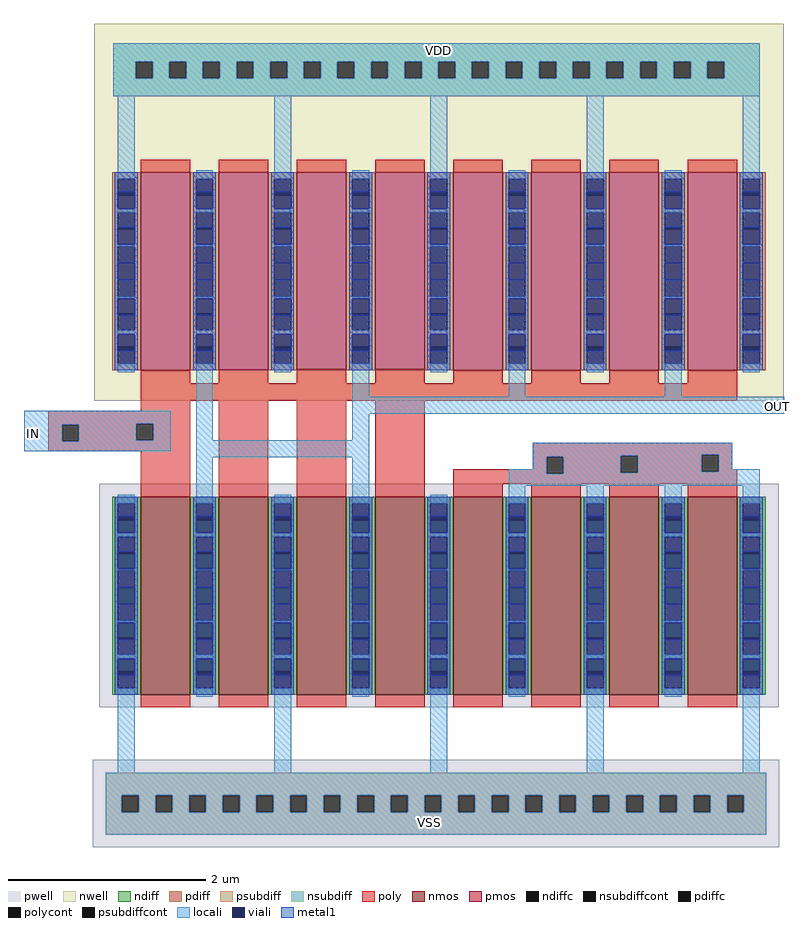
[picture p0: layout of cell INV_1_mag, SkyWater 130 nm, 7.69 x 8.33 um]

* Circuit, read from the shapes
.subckt INV_1_mag IN OUT VDD VSS
XM1 OUT IN VSS VSS sky130_fd_pr__nfet_01v8 w=2 l=0.5 m=4
XM2 VSS VSS VSS VSS sky130_fd_pr__nfet_01v8 w=2 l=0.5 m=4
XM3 OUT IN VDD VDD sky130_fd_pr__pfet_01v8 w=2 l=0.5 m=8
.ends

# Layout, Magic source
magic
tech sky130A
magscale 1 2
<< nwell >>
rect 0 521 1394 763
rect 364 466 398 521
rect 680 463 714 521
rect 996 464 1030 521
rect 1312 464 1346 521
rect 838 36 872 61
rect 1154 36 1188 62
rect 94 0 1300 36
<< pwell >>
rect -3 -903 1385 -726
<< psubdiff >>
rect 23 -798 1359 -752
rect 23 -832 56 -798
rect 90 -832 124 -798
rect 158 -832 192 -798
rect 226 -832 260 -798
rect 294 -832 328 -798
rect 362 -832 396 -798
rect 430 -832 464 -798
rect 498 -832 532 -798
rect 566 -832 600 -798
rect 634 -832 668 -798
rect 702 -832 736 -798
rect 770 -832 804 -798
rect 838 -832 872 -798
rect 906 -832 940 -798
rect 974 -832 1008 -798
rect 1042 -832 1076 -798
rect 1110 -832 1144 -798
rect 1178 -832 1212 -798
rect 1246 -832 1280 -798
rect 1314 -832 1359 -798
rect 23 -877 1359 -832
<< nsubdiff >>
rect 39 686 1346 723
rect 39 652 84 686
rect 118 652 152 686
rect 186 652 220 686
rect 254 652 288 686
rect 322 652 356 686
rect 390 652 424 686
rect 458 652 492 686
rect 526 652 560 686
rect 594 652 628 686
rect 662 652 696 686
rect 730 652 764 686
rect 798 652 832 686
rect 866 652 900 686
rect 934 652 968 686
rect 1002 652 1036 686
rect 1070 652 1104 686
rect 1138 652 1172 686
rect 1206 652 1240 686
rect 1274 652 1346 686
rect 39 616 1346 652
<< psubdiffcont >>
rect 56 -832 90 -798
rect 124 -832 158 -798
rect 192 -832 226 -798
rect 260 -832 294 -798
rect 328 -832 362 -798
rect 396 -832 430 -798
rect 464 -832 498 -798
rect 532 -832 566 -798
rect 600 -832 634 -798
rect 668 -832 702 -798
rect 736 -832 770 -798
rect 804 -832 838 -798
rect 872 -832 906 -798
rect 940 -832 974 -798
rect 1008 -832 1042 -798
rect 1076 -832 1110 -798
rect 1144 -832 1178 -798
rect 1212 -832 1246 -798
rect 1280 -832 1314 -798
<< nsubdiffcont >>
rect 84 652 118 686
rect 152 652 186 686
rect 220 652 254 686
rect 288 652 322 686
rect 356 652 390 686
rect 424 652 458 686
rect 492 652 526 686
rect 560 652 594 686
rect 628 652 662 686
rect 696 652 730 686
rect 764 652 798 686
rect 832 652 866 686
rect 900 652 934 686
rect 968 652 1002 686
rect 1036 652 1070 686
rect 1104 652 1138 686
rect 1172 652 1206 686
rect 1240 652 1274 686
<< poly >>
rect 94 61 120 62
rect 94 36 194 61
rect 252 36 352 64
rect 410 36 510 65
rect 568 36 668 65
rect 94 0 1300 36
rect 94 -20 194 0
rect -93 -46 194 -20
rect -93 -48 85 -46
rect -93 -82 -65 -48
rect -31 -80 85 -48
rect 119 -80 194 -46
rect -31 -82 194 -80
rect -93 -102 194 -82
rect 94 -173 194 -102
rect 252 -170 352 0
rect 410 -169 510 0
rect 568 -169 668 0
rect 887 -109 1290 -85
rect 887 -111 1229 -109
rect 887 -113 1065 -111
rect 887 -138 915 -113
rect 726 -147 915 -138
rect 949 -145 1065 -113
rect 1099 -143 1229 -111
rect 1263 -138 1290 -109
rect 1263 -143 1300 -138
rect 1099 -145 1300 -143
rect 949 -147 1300 -145
rect 726 -168 1300 -147
rect 94 -183 120 -173
<< polycont >>
rect -65 -82 -31 -48
rect 85 -80 119 -46
rect 915 -147 949 -113
rect 1065 -145 1099 -111
rect 1229 -143 1263 -109
<< locali >>
rect 39 686 1346 723
rect 39 652 84 686
rect 118 652 152 686
rect 186 652 220 686
rect 254 652 288 686
rect 322 652 356 686
rect 390 652 424 686
rect 458 652 492 686
rect 526 652 560 686
rect 594 652 628 686
rect 662 652 696 686
rect 730 652 764 686
rect 798 652 832 686
rect 866 652 900 686
rect 934 652 968 686
rect 1002 652 1036 686
rect 1070 652 1104 686
rect 1138 652 1172 686
rect 1206 652 1240 686
rect 1274 652 1346 686
rect 39 616 1346 652
rect 48 465 82 616
rect 364 466 398 616
rect 680 463 714 616
rect 996 464 1030 616
rect 1312 464 1346 616
rect -142 -46 155 -20
rect -142 -48 85 -46
rect -142 -82 -65 -48
rect -31 -80 85 -48
rect 119 -80 155 -46
rect -31 -82 155 -80
rect -142 -102 155 -82
rect 206 -80 240 71
rect 522 8 556 64
rect 838 8 872 61
rect 1154 8 1188 62
rect 522 -26 1395 8
rect 522 -80 556 -26
rect 206 -114 556 -80
rect 206 -202 240 -114
rect 522 -198 556 -114
rect 887 -109 1290 -85
rect 887 -111 1229 -109
rect 887 -113 1065 -111
rect 887 -138 915 -113
rect 838 -147 915 -138
rect 949 -145 1065 -113
rect 1099 -143 1229 -111
rect 1263 -138 1290 -109
rect 1263 -143 1346 -138
rect 1099 -145 1346 -143
rect 949 -147 1346 -145
rect 838 -172 1346 -147
rect 838 -200 872 -172
rect 996 -191 1030 -172
rect 1154 -206 1188 -172
rect 1312 -208 1346 -172
rect 48 -752 82 -597
rect 364 -752 398 -597
rect 680 -752 714 -597
rect 996 -752 1030 -597
rect 1312 -752 1346 -597
rect 23 -798 1359 -752
rect 23 -832 56 -798
rect 90 -832 124 -798
rect 158 -832 192 -798
rect 226 -832 260 -798
rect 294 -832 328 -798
rect 362 -832 396 -798
rect 430 -832 464 -798
rect 498 -832 532 -798
rect 566 -832 600 -798
rect 634 -832 668 -798
rect 702 -832 736 -798
rect 770 -832 804 -798
rect 838 -832 872 -798
rect 906 -832 940 -798
rect 974 -832 1008 -798
rect 1042 -832 1076 -798
rect 1110 -832 1144 -798
rect 1178 -832 1212 -798
rect 1246 -832 1280 -798
rect 1314 -832 1359 -798
rect 23 -877 1359 -832
use sky130_fd_pr__nfet_01v8_TMD3M2  sky130_fd_pr__nfet_01v8_TMD3M2_0
transform -1 0 1013 0 1 -394
box -371 -226 371 226
use sky130_fd_pr__nfet_01v8_TMD3M2  sky130_fd_pr__nfet_01v8_TMD3M2_1
transform 1 0 381 0 1 -394
box -371 -226 371 226
use sky130_fd_pr__pfet_01v8_2P97UG  sky130_fd_pr__pfet_01v8_2P97UG_0
transform -1 0 697 0 1 262
box -697 -262 697 262
<< labels >>
flabel locali s -123 -66 -123 -66 0 FreeSans 1250 0 0 0 IN
flabel locali s 1381 -11 1381 -11 0 FreeSans 1250 0 0 0 OUT
flabel locali s 696 708 696 708 0 FreeSans 1250 0 0 0 VDD
flabel locali s 679 -853 679 -853 0 FreeSans 1250 0 0 0 VSS
<< properties >>
string GDS_END 88274
string GDS_FILE /home/shahid/Sky130Projects/top_layout/VCO.gds
string GDS_START 81158
<< end >>

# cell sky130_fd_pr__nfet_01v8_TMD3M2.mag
magic
tech sky130A
magscale 1 2
<< pwell >>
rect -371 -226 371 226
<< nmos >>
rect -287 -200 -187 200
rect -129 -200 -29 200
rect 29 -200 129 200
rect 187 -200 287 200
<< ndiff >>
rect -345 187 -287 200
rect -345 153 -333 187
rect -299 153 -287 187
rect -345 119 -287 153
rect -345 85 -333 119
rect -299 85 -287 119
rect -345 51 -287 85
rect -345 17 -333 51
rect -299 17 -287 51
rect -345 -17 -287 17
rect -345 -51 -333 -17
rect -299 -51 -287 -17
rect -345 -85 -287 -51
rect -345 -119 -333 -85
rect -299 -119 -287 -85
rect -345 -153 -287 -119
rect -345 -187 -333 -153
rect -299 -187 -287 -153
rect -345 -200 -287 -187
rect -187 187 -129 200
rect -187 153 -175 187
rect -141 153 -129 187
rect -187 119 -129 153
rect -187 85 -175 119
rect -141 85 -129 119
rect -187 51 -129 85
rect -187 17 -175 51
rect -141 17 -129 51
rect -187 -17 -129 17
rect -187 -51 -175 -17
rect -141 -51 -129 -17
rect -187 -85 -129 -51
rect -187 -119 -175 -85
rect -141 -119 -129 -85
rect -187 -153 -129 -119
rect -187 -187 -175 -153
rect -141 -187 -129 -153
rect -187 -200 -129 -187
rect -29 187 29 200
rect -29 153 -17 187
rect 17 153 29 187
rect -29 119 29 153
rect -29 85 -17 119
rect 17 85 29 119
rect -29 51 29 85
rect -29 17 -17 51
rect 17 17 29 51
rect -29 -17 29 17
rect -29 -51 -17 -17
rect 17 -51 29 -17
rect -29 -85 29 -51
rect -29 -119 -17 -85
rect 17 -119 29 -85
rect -29 -153 29 -119
rect -29 -187 -17 -153
rect 17 -187 29 -153
rect -29 -200 29 -187
rect 129 187 187 200
rect 129 153 141 187
rect 175 153 187 187
rect 129 119 187 153
rect 129 85 141 119
rect 175 85 187 119
rect 129 51 187 85
rect 129 17 141 51
rect 175 17 187 51
rect 129 -17 187 17
rect 129 -51 141 -17
rect 175 -51 187 -17
rect 129 -85 187 -51
rect 129 -119 141 -85
rect 175 -119 187 -85
rect 129 -153 187 -119
rect 129 -187 141 -153
rect 175 -187 187 -153
rect 129 -200 187 -187
rect 287 187 345 200
rect 287 153 299 187
rect 333 153 345 187
rect 287 119 345 153
rect 287 85 299 119
rect 333 85 345 119
rect 287 51 345 85
rect 287 17 299 51
rect 333 17 345 51
rect 287 -17 345 17
rect 287 -51 299 -17
rect 333 -51 345 -17
rect 287 -85 345 -51
rect 287 -119 299 -85
rect 333 -119 345 -85
rect 287 -153 345 -119
rect 287 -187 299 -153
rect 333 -187 345 -153
rect 287 -200 345 -187
<< ndiffc >>
rect -333 153 -299 187
rect -333 85 -299 119
rect -333 17 -299 51
rect -333 -51 -299 -17
rect -333 -119 -299 -85
rect -333 -187 -299 -153
rect -175 153 -141 187
rect -175 85 -141 119
rect -175 17 -141 51
rect -175 -51 -141 -17
rect -175 -119 -141 -85
rect -175 -187 -141 -153
rect -17 153 17 187
rect -17 85 17 119
rect -17 17 17 51
rect -17 -51 17 -17
rect -17 -119 17 -85
rect -17 -187 17 -153
rect 141 153 175 187
rect 141 85 175 119
rect 141 17 175 51
rect 141 -51 175 -17
rect 141 -119 175 -85
rect 141 -187 175 -153
rect 299 153 333 187
rect 299 85 333 119
rect 299 17 333 51
rect 299 -51 333 -17
rect 299 -119 333 -85
rect 299 -187 333 -153
<< poly >>
rect -287 200 -187 226
rect -129 200 -29 226
rect 29 200 129 226
rect 187 200 287 226
rect -287 -226 -187 -200
rect -129 -226 -29 -200
rect 29 -226 129 -200
rect 187 -226 287 -200
<< locali >>
rect -333 187 -299 204
rect -333 119 -299 127
rect -333 51 -299 55
rect -333 -55 -299 -51
rect -333 -127 -299 -119
rect -333 -204 -299 -187
rect -175 187 -141 204
rect -175 119 -141 127
rect -175 51 -141 55
rect -175 -55 -141 -51
rect -175 -127 -141 -119
rect -175 -204 -141 -187
rect -17 187 17 204
rect -17 119 17 127
rect -17 51 17 55
rect -17 -55 17 -51
rect -17 -127 17 -119
rect -17 -204 17 -187
rect 141 187 175 204
rect 141 119 175 127
rect 141 51 175 55
rect 141 -55 175 -51
rect 141 -127 175 -119
rect 141 -204 175 -187
rect 299 187 333 204
rect 299 119 333 127
rect 299 51 333 55
rect 299 -55 333 -51
rect 299 -127 333 -119
rect 299 -204 333 -187
<< viali >>
rect -333 153 -299 161
rect -333 127 -299 153
rect -333 85 -299 89
rect -333 55 -299 85
rect -333 -17 -299 17
rect -333 -85 -299 -55
rect -333 -89 -299 -85
rect -333 -153 -299 -127
rect -333 -161 -299 -153
rect -175 153 -141 161
rect -175 127 -141 153
rect -175 85 -141 89
rect -175 55 -141 85
rect -175 -17 -141 17
rect -175 -85 -141 -55
rect -175 -89 -141 -85
rect -175 -153 -141 -127
rect -175 -161 -141 -153
rect -17 153 17 161
rect -17 127 17 153
rect -17 85 17 89
rect -17 55 17 85
rect -17 -17 17 17
rect -17 -85 17 -55
rect -17 -89 17 -85
rect -17 -153 17 -127
rect -17 -161 17 -153
rect 141 153 175 161
rect 141 127 175 153
rect 141 85 175 89
rect 141 55 175 85
rect 141 -17 175 17
rect 141 -85 175 -55
rect 141 -89 175 -85
rect 141 -153 175 -127
rect 141 -161 175 -153
rect 299 153 333 161
rect 299 127 333 153
rect 299 85 333 89
rect 299 55 333 85
rect 299 -17 333 17
rect 299 -85 333 -55
rect 299 -89 333 -85
rect 299 -153 333 -127
rect 299 -161 333 -153
<< metal1 >>
rect -339 161 -293 200
rect -339 127 -333 161
rect -299 127 -293 161
rect -339 89 -293 127
rect -339 55 -333 89
rect -299 55 -293 89
rect -339 17 -293 55
rect -339 -17 -333 17
rect -299 -17 -293 17
rect -339 -55 -293 -17
rect -339 -89 -333 -55
rect -299 -89 -293 -55
rect -339 -127 -293 -89
rect -339 -161 -333 -127
rect -299 -161 -293 -127
rect -339 -200 -293 -161
rect -181 161 -135 200
rect -181 127 -175 161
rect -141 127 -135 161
rect -181 89 -135 127
rect -181 55 -175 89
rect -141 55 -135 89
rect -181 17 -135 55
rect -181 -17 -175 17
rect -141 -17 -135 17
rect -181 -55 -135 -17
rect -181 -89 -175 -55
rect -141 -89 -135 -55
rect -181 -127 -135 -89
rect -181 -161 -175 -127
rect -141 -161 -135 -127
rect -181 -200 -135 -161
rect -23 161 23 200
rect -23 127 -17 161
rect 17 127 23 161
rect -23 89 23 127
rect -23 55 -17 89
rect 17 55 23 89
rect -23 17 23 55
rect -23 -17 -17 17
rect 17 -17 23 17
rect -23 -55 23 -17
rect -23 -89 -17 -55
rect 17 -89 23 -55
rect -23 -127 23 -89
rect -23 -161 -17 -127
rect 17 -161 23 -127
rect -23 -200 23 -161
rect 135 161 181 200
rect 135 127 141 161
rect 175 127 181 161
rect 135 89 181 127
rect 135 55 141 89
rect 175 55 181 89
rect 135 17 181 55
rect 135 -17 141 17
rect 175 -17 181 17
rect 135 -55 181 -17
rect 135 -89 141 -55
rect 175 -89 181 -55
rect 135 -127 181 -89
rect 135 -161 141 -127
rect 175 -161 181 -127
rect 135 -200 181 -161
rect 293 161 339 200
rect 293 127 299 161
rect 333 127 339 161
rect 293 89 339 127
rect 293 55 299 89
rect 333 55 339 89
rect 293 17 339 55
rect 293 -17 299 17
rect 333 -17 339 17
rect 293 -55 339 -17
rect 293 -89 299 -55
rect 333 -89 339 -55
rect 293 -127 339 -89
rect 293 -161 299 -127
rect 333 -161 339 -127
rect 293 -200 339 -161
<< properties >>
string GDS_END 72858
string GDS_FILE /home/shahid/Sky130Projects/top_layout/VCO.gds
string GDS_START 68310
<< end >>

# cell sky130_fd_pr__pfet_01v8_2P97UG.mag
magic
tech sky130A
magscale 1 2
<< nwell >>
rect -697 -262 697 262
<< pmos >>
rect -603 -200 -503 200
rect -445 -200 -345 200
rect -287 -200 -187 200
rect -129 -200 -29 200
rect 29 -200 129 200
rect 187 -200 287 200
rect 345 -200 445 200
rect 503 -200 603 200
<< pdiff >>
rect -661 187 -603 200
rect -661 153 -649 187
rect -615 153 -603 187
rect -661 119 -603 153
rect -661 85 -649 119
rect -615 85 -603 119
rect -661 51 -603 85
rect -661 17 -649 51
rect -615 17 -603 51
rect -661 -17 -603 17
rect -661 -51 -649 -17
rect -615 -51 -603 -17
rect -661 -85 -603 -51
rect -661 -119 -649 -85
rect -615 -119 -603 -85
rect -661 -153 -603 -119
rect -661 -187 -649 -153
rect -615 -187 -603 -153
rect -661 -200 -603 -187
rect -503 187 -445 200
rect -503 153 -491 187
rect -457 153 -445 187
rect -503 119 -445 153
rect -503 85 -491 119
rect -457 85 -445 119
rect -503 51 -445 85
rect -503 17 -491 51
rect -457 17 -445 51
rect -503 -17 -445 17
rect -503 -51 -491 -17
rect -457 -51 -445 -17
rect -503 -85 -445 -51
rect -503 -119 -491 -85
rect -457 -119 -445 -85
rect -503 -153 -445 -119
rect -503 -187 -491 -153
rect -457 -187 -445 -153
rect -503 -200 -445 -187
rect -345 187 -287 200
rect -345 153 -333 187
rect -299 153 -287 187
rect -345 119 -287 153
rect -345 85 -333 119
rect -299 85 -287 119
rect -345 51 -287 85
rect -345 17 -333 51
rect -299 17 -287 51
rect -345 -17 -287 17
rect -345 -51 -333 -17
rect -299 -51 -287 -17
rect -345 -85 -287 -51
rect -345 -119 -333 -85
rect -299 -119 -287 -85
rect -345 -153 -287 -119
rect -345 -187 -333 -153
rect -299 -187 -287 -153
rect -345 -200 -287 -187
rect -187 187 -129 200
rect -187 153 -175 187
rect -141 153 -129 187
rect -187 119 -129 153
rect -187 85 -175 119
rect -141 85 -129 119
rect -187 51 -129 85
rect -187 17 -175 51
rect -141 17 -129 51
rect -187 -17 -129 17
rect -187 -51 -175 -17
rect -141 -51 -129 -17
rect -187 -85 -129 -51
rect -187 -119 -175 -85
rect -141 -119 -129 -85
rect -187 -153 -129 -119
rect -187 -187 -175 -153
rect -141 -187 -129 -153
rect -187 -200 -129 -187
rect -29 187 29 200
rect -29 153 -17 187
rect 17 153 29 187
rect -29 119 29 153
rect -29 85 -17 119
rect 17 85 29 119
rect -29 51 29 85
rect -29 17 -17 51
rect 17 17 29 51
rect -29 -17 29 17
rect -29 -51 -17 -17
rect 17 -51 29 -17
rect -29 -85 29 -51
rect -29 -119 -17 -85
rect 17 -119 29 -85
rect -29 -153 29 -119
rect -29 -187 -17 -153
rect 17 -187 29 -153
rect -29 -200 29 -187
rect 129 187 187 200
rect 129 153 141 187
rect 175 153 187 187
rect 129 119 187 153
rect 129 85 141 119
rect 175 85 187 119
rect 129 51 187 85
rect 129 17 141 51
rect 175 17 187 51
rect 129 -17 187 17
rect 129 -51 141 -17
rect 175 -51 187 -17
rect 129 -85 187 -51
rect 129 -119 141 -85
rect 175 -119 187 -85
rect 129 -153 187 -119
rect 129 -187 141 -153
rect 175 -187 187 -153
rect 129 -200 187 -187
rect 287 187 345 200
rect 287 153 299 187
rect 333 153 345 187
rect 287 119 345 153
rect 287 85 299 119
rect 333 85 345 119
rect 287 51 345 85
rect 287 17 299 51
rect 333 17 345 51
rect 287 -17 345 17
rect 287 -51 299 -17
rect 333 -51 345 -17
rect 287 -85 345 -51
rect 287 -119 299 -85
rect 333 -119 345 -85
rect 287 -153 345 -119
rect 287 -187 299 -153
rect 333 -187 345 -153
rect 287 -200 345 -187
rect 445 187 503 200
rect 445 153 457 187
rect 491 153 503 187
rect 445 119 503 153
rect 445 85 457 119
rect 491 85 503 119
rect 445 51 503 85
rect 445 17 457 51
rect 491 17 503 51
rect 445 -17 503 17
rect 445 -51 457 -17
rect 491 -51 503 -17
rect 445 -85 503 -51
rect 445 -119 457 -85
rect 491 -119 503 -85
rect 445 -153 503 -119
rect 445 -187 457 -153
rect 491 -187 503 -153
rect 445 -200 503 -187
rect 603 187 661 200
rect 603 153 615 187
rect 649 153 661 187
rect 603 119 661 153
rect 603 85 615 119
rect 649 85 661 119
rect 603 51 661 85
rect 603 17 615 51
rect 649 17 661 51
rect 603 -17 661 17
rect 603 -51 615 -17
rect 649 -51 661 -17
rect 603 -85 661 -51
rect 603 -119 615 -85
rect 649 -119 661 -85
rect 603 -153 661 -119
rect 603 -187 615 -153
rect 649 -187 661 -153
rect 603 -200 661 -187
<< pdiffc >>
rect -649 153 -615 187
rect -649 85 -615 119
rect -649 17 -615 51
rect -649 -51 -615 -17
rect -649 -119 -615 -85
rect -649 -187 -615 -153
rect -491 153 -457 187
rect -491 85 -457 119
rect -491 17 -457 51
rect -491 -51 -457 -17
rect -491 -119 -457 -85
rect -491 -187 -457 -153
rect -333 153 -299 187
rect -333 85 -299 119
rect -333 17 -299 51
rect -333 -51 -299 -17
rect -333 -119 -299 -85
rect -333 -187 -299 -153
rect -175 153 -141 187
rect -175 85 -141 119
rect -175 17 -141 51
rect -175 -51 -141 -17
rect -175 -119 -141 -85
rect -175 -187 -141 -153
rect -17 153 17 187
rect -17 85 17 119
rect -17 17 17 51
rect -17 -51 17 -17
rect -17 -119 17 -85
rect -17 -187 17 -153
rect 141 153 175 187
rect 141 85 175 119
rect 141 17 175 51
rect 141 -51 175 -17
rect 141 -119 175 -85
rect 141 -187 175 -153
rect 299 153 333 187
rect 299 85 333 119
rect 299 17 333 51
rect 299 -51 333 -17
rect 299 -119 333 -85
rect 299 -187 333 -153
rect 457 153 491 187
rect 457 85 491 119
rect 457 17 491 51
rect 457 -51 491 -17
rect 457 -119 491 -85
rect 457 -187 491 -153
rect 615 153 649 187
rect 615 85 649 119
rect 615 17 649 51
rect 615 -51 649 -17
rect 615 -119 649 -85
rect 615 -187 649 -153
<< poly >>
rect -603 200 -503 226
rect -445 200 -345 226
rect -287 200 -187 226
rect -129 200 -29 226
rect 29 200 129 226
rect 187 200 287 226
rect 345 200 445 226
rect 503 200 603 226
rect -603 -226 -503 -200
rect -445 -226 -345 -200
rect -287 -226 -187 -200
rect -129 -226 -29 -200
rect 29 -226 129 -200
rect 187 -226 287 -200
rect 345 -226 445 -200
rect 503 -226 603 -200
<< locali >>
rect -649 187 -615 204
rect -649 119 -615 127
rect -649 51 -615 55
rect -649 -55 -615 -51
rect -649 -127 -615 -119
rect -649 -204 -615 -187
rect -491 187 -457 204
rect -491 119 -457 127
rect -491 51 -457 55
rect -491 -55 -457 -51
rect -491 -127 -457 -119
rect -491 -204 -457 -187
rect -333 187 -299 204
rect -333 119 -299 127
rect -333 51 -299 55
rect -333 -55 -299 -51
rect -333 -127 -299 -119
rect -333 -204 -299 -187
rect -175 187 -141 204
rect -175 119 -141 127
rect -175 51 -141 55
rect -175 -55 -141 -51
rect -175 -127 -141 -119
rect -175 -204 -141 -187
rect -17 187 17 204
rect -17 119 17 127
rect -17 51 17 55
rect -17 -55 17 -51
rect -17 -127 17 -119
rect -17 -204 17 -187
rect 141 187 175 204
rect 141 119 175 127
rect 141 51 175 55
rect 141 -55 175 -51
rect 141 -127 175 -119
rect 141 -204 175 -187
rect 299 187 333 204
rect 299 119 333 127
rect 299 51 333 55
rect 299 -55 333 -51
rect 299 -127 333 -119
rect 299 -204 333 -187
rect 457 187 491 204
rect 457 119 491 127
rect 457 51 491 55
rect 457 -55 491 -51
rect 457 -127 491 -119
rect 457 -204 491 -187
rect 615 187 649 204
rect 615 119 649 127
rect 615 51 649 55
rect 615 -55 649 -51
rect 615 -127 649 -119
rect 615 -204 649 -187
<< viali >>
rect -649 153 -615 161
rect -649 127 -615 153
rect -649 85 -615 89
rect -649 55 -615 85
rect -649 -17 -615 17
rect -649 -85 -615 -55
rect -649 -89 -615 -85
rect -649 -153 -615 -127
rect -649 -161 -615 -153
rect -491 153 -457 161
rect -491 127 -457 153
rect -491 85 -457 89
rect -491 55 -457 85
rect -491 -17 -457 17
rect -491 -85 -457 -55
rect -491 -89 -457 -85
rect -491 -153 -457 -127
rect -491 -161 -457 -153
rect -333 153 -299 161
rect -333 127 -299 153
rect -333 85 -299 89
rect -333 55 -299 85
rect -333 -17 -299 17
rect -333 -85 -299 -55
rect -333 -89 -299 -85
rect -333 -153 -299 -127
rect -333 -161 -299 -153
rect -175 153 -141 161
rect -175 127 -141 153
rect -175 85 -141 89
rect -175 55 -141 85
rect -175 -17 -141 17
rect -175 -85 -141 -55
rect -175 -89 -141 -85
rect -175 -153 -141 -127
rect -175 -161 -141 -153
rect -17 153 17 161
rect -17 127 17 153
rect -17 85 17 89
rect -17 55 17 85
rect -17 -17 17 17
rect -17 -85 17 -55
rect -17 -89 17 -85
rect -17 -153 17 -127
rect -17 -161 17 -153
rect 141 153 175 161
rect 141 127 175 153
rect 141 85 175 89
rect 141 55 175 85
rect 141 -17 175 17
rect 141 -85 175 -55
rect 141 -89 175 -85
rect 141 -153 175 -127
rect 141 -161 175 -153
rect 299 153 333 161
rect 299 127 333 153
rect 299 85 333 89
rect 299 55 333 85
rect 299 -17 333 17
rect 299 -85 333 -55
rect 299 -89 333 -85
rect 299 -153 333 -127
rect 299 -161 333 -153
rect 457 153 491 161
rect 457 127 491 153
rect 457 85 491 89
rect 457 55 491 85
rect 457 -17 491 17
rect 457 -85 491 -55
rect 457 -89 491 -85
rect 457 -153 491 -127
rect 457 -161 491 -153
rect 615 153 649 161
rect 615 127 649 153
rect 615 85 649 89
rect 615 55 649 85
rect 615 -17 649 17
rect 615 -85 649 -55
rect 615 -89 649 -85
rect 615 -153 649 -127
rect 615 -161 649 -153
<< metal1 >>
rect -655 161 -609 200
rect -655 127 -649 161
rect -615 127 -609 161
rect -655 89 -609 127
rect -655 55 -649 89
rect -615 55 -609 89
rect -655 17 -609 55
rect -655 -17 -649 17
rect -615 -17 -609 17
rect -655 -55 -609 -17
rect -655 -89 -649 -55
rect -615 -89 -609 -55
rect -655 -127 -609 -89
rect -655 -161 -649 -127
rect -615 -161 -609 -127
rect -655 -200 -609 -161
rect -497 161 -451 200
rect -497 127 -491 161
rect -457 127 -451 161
rect -497 89 -451 127
rect -497 55 -491 89
rect -457 55 -451 89
rect -497 17 -451 55
rect -497 -17 -491 17
rect -457 -17 -451 17
rect -497 -55 -451 -17
rect -497 -89 -491 -55
rect -457 -89 -451 -55
rect -497 -127 -451 -89
rect -497 -161 -491 -127
rect -457 -161 -451 -127
rect -497 -200 -451 -161
rect -339 161 -293 200
rect -339 127 -333 161
rect -299 127 -293 161
rect -339 89 -293 127
rect -339 55 -333 89
rect -299 55 -293 89
rect -339 17 -293 55
rect -339 -17 -333 17
rect -299 -17 -293 17
rect -339 -55 -293 -17
rect -339 -89 -333 -55
rect -299 -89 -293 -55
rect -339 -127 -293 -89
rect -339 -161 -333 -127
rect -299 -161 -293 -127
rect -339 -200 -293 -161
rect -181 161 -135 200
rect -181 127 -175 161
rect -141 127 -135 161
rect -181 89 -135 127
rect -181 55 -175 89
rect -141 55 -135 89
rect -181 17 -135 55
rect -181 -17 -175 17
rect -141 -17 -135 17
rect -181 -55 -135 -17
rect -181 -89 -175 -55
rect -141 -89 -135 -55
rect -181 -127 -135 -89
rect -181 -161 -175 -127
rect -141 -161 -135 -127
rect -181 -200 -135 -161
rect -23 161 23 200
rect -23 127 -17 161
rect 17 127 23 161
rect -23 89 23 127
rect -23 55 -17 89
rect 17 55 23 89
rect -23 17 23 55
rect -23 -17 -17 17
rect 17 -17 23 17
rect -23 -55 23 -17
rect -23 -89 -17 -55
rect 17 -89 23 -55
rect -23 -127 23 -89
rect -23 -161 -17 -127
rect 17 -161 23 -127
rect -23 -200 23 -161
rect 135 161 181 200
rect 135 127 141 161
rect 175 127 181 161
rect 135 89 181 127
rect 135 55 141 89
rect 175 55 181 89
rect 135 17 181 55
rect 135 -17 141 17
rect 175 -17 181 17
rect 135 -55 181 -17
rect 135 -89 141 -55
rect 175 -89 181 -55
rect 135 -127 181 -89
rect 135 -161 141 -127
rect 175 -161 181 -127
rect 135 -200 181 -161
rect 293 161 339 200
rect 293 127 299 161
rect 333 127 339 161
rect 293 89 339 127
rect 293 55 299 89
rect 333 55 339 89
rect 293 17 339 55
rect 293 -17 299 17
rect 333 -17 339 17
rect 293 -55 339 -17
rect 293 -89 299 -55
rect 333 -89 339 -55
rect 293 -127 339 -89
rect 293 -161 299 -127
rect 333 -161 339 -127
rect 293 -200 339 -161
rect 451 161 497 200
rect 451 127 457 161
rect 491 127 497 161
rect 451 89 497 127
rect 451 55 457 89
rect 491 55 497 89
rect 451 17 497 55
rect 451 -17 457 17
rect 491 -17 497 17
rect 451 -55 497 -17
rect 451 -89 457 -55
rect 491 -89 497 -55
rect 451 -127 497 -89
rect 451 -161 457 -127
rect 491 -161 497 -127
rect 451 -200 497 -161
rect 609 161 655 200
rect 609 127 615 161
rect 649 127 655 161
rect 609 89 655 127
rect 609 55 615 89
rect 649 55 655 89
rect 609 17 655 55
rect 609 -17 615 17
rect 649 -17 655 17
rect 609 -55 655 -17
rect 609 -89 615 -55
rect 649 -89 655 -55
rect 609 -127 655 -89
rect 609 -161 615 -127
rect 649 -161 655 -127
rect 609 -200 655 -161
<< properties >>
string GDS_END 81116
string GDS_FILE /home/shahid/Sky130Projects/top_layout/VCO.gds
string GDS_START 72920
<< end >>
